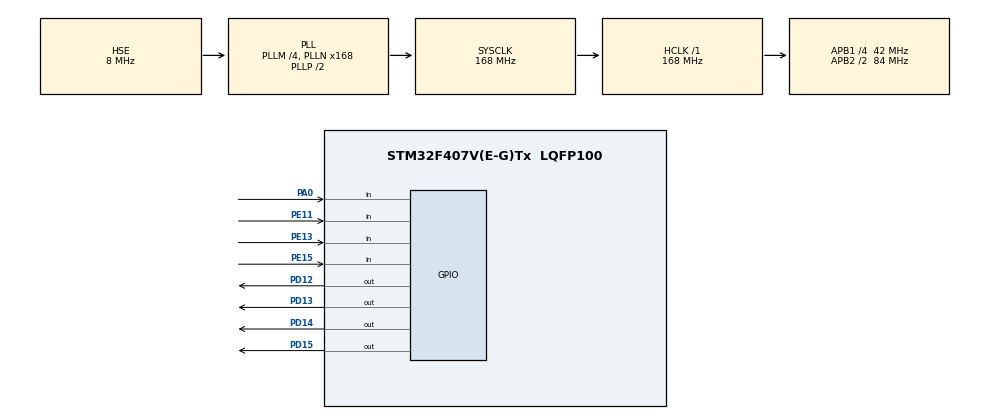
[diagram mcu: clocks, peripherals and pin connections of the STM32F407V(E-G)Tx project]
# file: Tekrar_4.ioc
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Mcu.Family=STM32F4
Mcu.Name=STM32F407V(E-G)Tx
Mcu.Package=LQFP100
NVIC.PriorityGroup=NVIC_PRIORITYGROUP_4
PA0-WKUP.GPIO_PuPd=GPIO_PULLDOWN
PA0-WKUP.Signal=GPIO_Input
PA13.Mode=Serial_Wire
PA13.Signal=SYS_JTMS-SWDIO
PA14.Mode=Serial_Wire
PA14.Signal=SYS_JTCK-SWCLK
PD12.GPIO_Speed=GPIO_SPEED_FREQ_VERY_HIGH
PD12.PinState=GPIO_PIN_RESET
PD12.Signal=GPIO_Output
PD13.GPIO_Speed=GPIO_SPEED_FREQ_VERY_HIGH
PD13.PinState=GPIO_PIN_RESET
PD13.Signal=GPIO_Output
PD14.GPIO_Speed=GPIO_SPEED_FREQ_VERY_HIGH
PD14.PinState=GPIO_PIN_RESET
PD14.Signal=GPIO_Output
PD15.GPIO_Speed=GPIO_SPEED_FREQ_VERY_HIGH
PD15.PinState=GPIO_PIN_RESET
PD15.Signal=GPIO_Output
PE11.GPIO_Mode=GPIO_MODE_INPUT
PE11.GPIO_PuPd=GPIO_PULLDOWN
PE11.Signal=GPIO_Input
PE13.GPIO_PuPd=GPIO_PULLDOWN
PE13.Signal=GPIO_Input
PE15.GPIO_PuPd=GPIO_PULLDOWN
PE15.Signal=GPIO_Input
PH0-OSC_IN.Mode=HSE-External-Clock-Source
PH0-OSC_IN.Signal=RCC_OSC_IN
PH1-OSC_OUT.Mode=HSE-External-Clock-Source
PH1-OSC_OUT.Signal=RCC_OSC_OUT
ProjectManager.HeapSize=0x200
ProjectManager.StackSize=0x400
ProjectManager.TargetToolchain=STM32CubeIDE
RCC.48MHZClocksFreq_Value=84000000
RCC.AHBFreq_Value=168000000
RCC.APB1CLKDivider=RCC_HCLK_DIV4
RCC.APB1Freq_Value=42000000
RCC.APB1TimFreq_Value=84000000
RCC.APB2CLKDivider=RCC_HCLK_DIV2
RCC.APB2Freq_Value=84000000
RCC.APB2TimFreq_Value=168000000
RCC.CortexFreq_Value=168000000
RCC.HCLKFreq_Value=168000000
RCC.HSE_VALUE=8000000
RCC.HSI_VALUE=16000000
RCC.LSE_VALUE=32768
RCC.PLLM=4
RCC.PLLN=168
RCC.PLLSourceVirtual=RCC_PLLSOURCE_HSE
RCC.SYSCLKFreq_VALUE=168000000
RCC.SYSCLKSource=RCC_SYSCLKSOURCE_PLLCLK
RCC.VCOOutputFreq_Value=336000000
board=custom

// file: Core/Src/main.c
/* USER CODE BEGIN Header */
/**
  ******************************************************************************
  * @file           : main.c
  * @brief          : Main program body
  ******************************************************************************
  * @attention
  *
  * Copyright (c) 2023 STMicroelectronics.
  * All rights reserved.
  *
  * This software is licensed under terms that can be found in the LICENSE file
  * in the root directory of this software component.
  * If no LICENSE file comes with this software, it is provided AS-IS.
  *
  ******************************************************************************
  */
/* USER CODE END Header */
#include "main.h"

/* USER CODE BEGIN PV */

int count=0;

/* USER CODE END PV */

void SystemClock_Config(void);
static void MX_GPIO_Init(void);

int main(void)
{

  /* MCU Configuration--------------------------------------------------------*/

  /* Reset of all peripherals, Initializes the Flash interface and the Systick. */
  HAL_Init();

  /* Configure the system clock */
  SystemClock_Config();

  /* Initialize all configured peripherals */
  MX_GPIO_Init();

  /* Infinite loop */
  while (1)
  {

    /* USER CODE BEGIN 3 */

	  /*
     //kullanıcı butonuna basınca ledleri yakma, tekrar basınca söndürme
	  if(HAL_GPIO_ReadPin(GPIOA, GPIO_PIN_0)) //butona basıldı mı diye baktım
	  {
		  while(HAL_GPIO_ReadPin(GPIOA, GPIO_PIN_0)); //butona basılı tutuluyorsa while icinde bekle

			  HAL_Delay(100);

			  count++;
	  }
	  if(count%2==1)
		  HAL_GPIO_WritePin(GPIOD, GPIO_PIN_12 | GPIO_PIN_13 | GPIO_PIN_14 | GPIO_PIN_15 , GPIO_PIN_SET);
	  else
		  HAL_GPIO_WritePin(GPIOD, GPIO_PIN_12 | GPIO_PIN_13 | GPIO_PIN_14 | GPIO_PIN_15 , GPIO_PIN_RESET);
		  */

	  //butona basarak ledleri sırasıyla yakma,söndürme
	  if(HAL_GPIO_ReadPin(GPIOA, GPIO_PIN_0)){

		  	while(HAL_GPIO_ReadPin(GPIOA, GPIO_PIN_0));
		  	HAL_Delay(100);

		  	count++;
		  }

	  if(count==1)
		  HAL_GPIO_WritePin(GPIOD, GPIO_PIN_12, GPIO_PIN_SET);
	  else if(count==2)
		  HAL_GPIO_WritePin(GPIOD, GPIO_PIN_13, GPIO_PIN_SET);
		  else if(count==3)
			  HAL_GPIO_WritePin(GPIOD, GPIO_PIN_14, GPIO_PIN_SET);
		  else if(count==4)
			  HAL_GPIO_WritePin(GPIOD, GPIO_PIN_15, GPIO_PIN_SET);
		  else if(count==5)
			  HAL_GPIO_WritePin(GPIOD, GPIO_PIN_15, GPIO_PIN_RESET);
		  else if(count==6)
			  HAL_GPIO_WritePin(GPIOD, GPIO_PIN_14, GPIO_PIN_RESET);
		  else if(count==7)
		  	  HAL_GPIO_WritePin(GPIOD, GPIO_PIN_13, GPIO_PIN_RESET);
		  else if(count==8)
		  {
		      HAL_GPIO_WritePin(GPIOD, GPIO_PIN_12, GPIO_PIN_RESET);
			  count=0;
		  }
  }

	  //ledleri 12-13-14-15-14-13-12 seklinde yak, 4 buton kullan(başlatma(PA0),yavaslatma,hızlandırma,durdurma)
	  //sadece pa0 ile yapacagım, her bastıgımda sırayla farklı mod

  /* USER CODE END 3 */
}

void SystemClock_Config(void)
{
  RCC_OscInitTypeDef RCC_OscInitStruct = {0};
  RCC_ClkInitTypeDef RCC_ClkInitStruct = {0};

  /** Configure the main internal regulator output voltage
  */
  __HAL_RCC_PWR_CLK_ENABLE();
  __HAL_PWR_VOLTAGESCALING_CONFIG(PWR_REGULATOR_VOLTAGE_SCALE1);

  /** Initializes the RCC Oscillators according to the specified parameters
  * in the RCC_OscInitTypeDef structure.
  */
  RCC_OscInitStruct.OscillatorType = RCC_OSCILLATORTYPE_HSE;
  RCC_OscInitStruct.HSEState = RCC_HSE_BYPASS;
  RCC_OscInitStruct.PLL.PLLState = RCC_PLL_ON;
  RCC_OscInitStruct.PLL.PLLSource = RCC_PLLSOURCE_HSE;
  RCC_OscInitStruct.PLL.PLLM = 4;
  RCC_OscInitStruct.PLL.PLLN = 168;
  RCC_OscInitStruct.PLL.PLLP = RCC_PLLP_DIV2;
  RCC_OscInitStruct.PLL.PLLQ = 4;
  if (HAL_RCC_OscConfig(&RCC_OscInitStruct) != HAL_OK)
  {
    Error_Handler();
  }

  /** Initializes the CPU, AHB and APB buses clocks
  */
  RCC_ClkInitStruct.ClockType = RCC_CLOCKTYPE_HCLK|RCC_CLOCKTYPE_SYSCLK
                              |RCC_CLOCKTYPE_PCLK1|RCC_CLOCKTYPE_PCLK2;
  RCC_ClkInitStruct.SYSCLKSource = RCC_SYSCLKSOURCE_PLLCLK;
  RCC_ClkInitStruct.AHBCLKDivider = RCC_SYSCLK_DIV1;
  RCC_ClkInitStruct.APB1CLKDivider = RCC_HCLK_DIV4;
  RCC_ClkInitStruct.APB2CLKDivider = RCC_HCLK_DIV2;

  if (HAL_RCC_ClockConfig(&RCC_ClkInitStruct, FLASH_LATENCY_5) != HAL_OK)
  {
    Error_Handler();
  }
}

static void MX_GPIO_Init(void)
{
  GPIO_InitTypeDef GPIO_InitStruct = {0};

  /* GPIO Ports Clock Enable */
  __HAL_RCC_GPIOH_CLK_ENABLE();
  __HAL_RCC_GPIOA_CLK_ENABLE();
  __HAL_RCC_GPIOE_CLK_ENABLE();
  __HAL_RCC_GPIOD_CLK_ENABLE();

  /*Configure GPIO pin Output Level */
  HAL_GPIO_WritePin(GPIOD, GPIO_PIN_12|GPIO_PIN_13|GPIO_PIN_14|GPIO_PIN_15, GPIO_PIN_RESET);

  /*Configure GPIO pin : PA0 */
  GPIO_InitStruct.Pin = GPIO_PIN_0;
  GPIO_InitStruct.Mode = GPIO_MODE_INPUT;
  GPIO_InitStruct.Pull = GPIO_PULLDOWN;
  HAL_GPIO_Init(GPIOA, &GPIO_InitStruct);

  /*Configure GPIO pins : PE11 PE13 PE15 */
  GPIO_InitStruct.Pin = GPIO_PIN_11|GPIO_PIN_13|GPIO_PIN_15;
  GPIO_InitStruct.Mode = GPIO_MODE_INPUT;
  GPIO_InitStruct.Pull = GPIO_PULLDOWN;
  HAL_GPIO_Init(GPIOE, &GPIO_InitStruct);

  /*Configure GPIO pins : PD12 PD13 PD14 PD15 */
  GPIO_InitStruct.Pin = GPIO_PIN_12|GPIO_PIN_13|GPIO_PIN_14|GPIO_PIN_15;
  GPIO_InitStruct.Mode = GPIO_MODE_OUTPUT_PP;
  GPIO_InitStruct.Pull = GPIO_NOPULL;
  GPIO_InitStruct.Speed = GPIO_SPEED_FREQ_VERY_HIGH;
  HAL_GPIO_Init(GPIOD, &GPIO_InitStruct);

}

void Error_Handler(void)
{
  __disable_irq();
  while (1)
  {
  }
}
